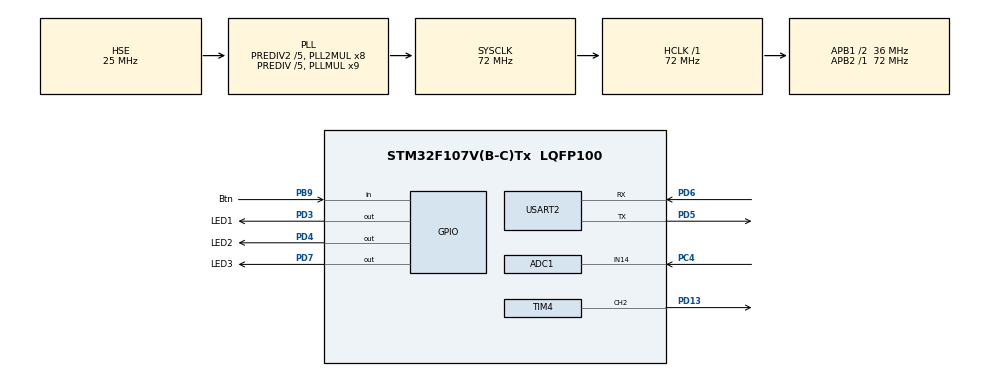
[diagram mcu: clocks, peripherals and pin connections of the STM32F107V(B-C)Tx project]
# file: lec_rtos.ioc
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ADC1.Channel-0\#ChannelRegularConversion=ADC_CHANNEL_14
ADC1.ContinuousConvMode=ENABLE
ADC1.NbrOfConversionFlag=1
ADC1.Rank-0\#ChannelRegularConversion=1
ADC1.SamplingTime-0\#ChannelRegularConversion=ADC_SAMPLETIME_1CYCLE_5
ADC1.master=1
FREERTOS.BinarySemaphores01=BtnSem,Static,BtnSemControlBlock
FREERTOS.Queues01=UARTQueue,10,QUEUE_t,0,Static,UARTQueueBuffer,UARTQueueControlBlock
FREERTOS.Tasks01=defaultTask,24,128,StartDefaultTask,Default,NULL,Static,defaultTaskBuffer,defaultTaskControlBlock;LED1Task,8,128,StartLED1Task,Default,NULL,Static,LED1TaskBuffer,LED1TaskControlBlock;LED2Task,8,128,StartLED2Task,Default,NULL,Static,LED2TaskBuffer,LED2TaskControlBlock;ReadBtnTask,8,128,StartReadBtnTask,Default,NULL,Static,ReadBtnTaskBuffer,ReadBtnTaskControlBlock;LED3Task,8,128,StartLED3Task,Default,NULL,Static,LED3TaskBuffer,LED3TaskControlBlock;ADCTask,8,128,StartADCTask,Default,NULL,Static,ADCTaskBuffer,ADCTaskControlBlock;UARTTask,8,128,StartUARTTask,Default,NULL,Static,UARTTaskBuffer,UARTTaskControlBlock
Mcu.Family=STM32F1
Mcu.Name=STM32F107V(B-C)Tx
Mcu.Package=LQFP100
NVIC.PriorityGroup=NVIC_PRIORITYGROUP_4
NVIC.TIM6_IRQn=true\:0\:0\:false\:false\:true\:false\:false\:true\:true
NVIC.TimeBase=TIM6_IRQn
NVIC.TimeBaseIP=TIM6
OSC_IN.Mode=HSE-External-Oscillator
OSC_IN.Signal=RCC_OSC_IN
OSC_OUT.Mode=HSE-External-Oscillator
OSC_OUT.Signal=RCC_OSC_OUT
PA13.Mode=Serial_Wire
PA13.Signal=SYS_JTMS-SWDIO
PA14.Mode=Serial_Wire
PA14.Signal=SYS_JTCK-SWCLK
PB9.GPIO_Label=Btn
PB9.Signal=GPIO_Input
PC4.Signal=ADCx_IN14
PD13.Signal=S_TIM4_CH2
PD3.GPIO_Label=LED1
PD3.Signal=GPIO_Output
PD4.GPIO_Label=LED2
PD4.Signal=GPIO_Output
PD5.Mode=Asynchronous
PD5.Signal=USART2_TX
PD6.Mode=Asynchronous
PD6.Signal=USART2_RX
PD7.GPIO_Label=LED3
PD7.Signal=GPIO_Output
ProjectManager.HeapSize=0x200
ProjectManager.StackSize=0x400
ProjectManager.TargetToolchain=STM32CubeIDE
RCC.ADCPresc=RCC_ADCPCLK2_DIV6
RCC.AHBFreq_Value=72000000
RCC.APB1CLKDivider=RCC_HCLK_DIV2
RCC.APB1Freq_Value=36000000
RCC.APB1TimFreq_Value=72000000
RCC.APB2Freq_Value=72000000
RCC.APB2TimFreq_Value=72000000
RCC.EnbaleCSS=true
RCC.HCLKFreq_Value=72000000
RCC.HSEDivPLL=RCC_HSE_PREDIV_DIV5
RCC.HSE_VALUE=25000000
RCC.PLLMUL=RCC_PLL_MUL9
RCC.PLLSourceVirtual=RCC_PLLSOURCE_HSE
RCC.Prediv1Source=RCC_PREDIV1_SOURCE_PLL2
RCC.Prediv2=RCC_HSE_PREDIV2_DIV5
RCC.SYSCLKFreq_VALUE=72000000
RCC.SYSCLKSource=RCC_SYSCLKSOURCE_PLLCLK
RCC.USBFreq_Value=48000000
SH.ADCx_IN14.0=ADC1_IN14,IN14
SH.S_TIM4_CH2.0=TIM4_CH2,PWM Generation2 CH2
TIM4.Channel-PWM\ Generation2\ CH2=TIM_CHANNEL_2
TIM4.Period=4095
TIM4.Prescaler=300
USART2.VirtualMode=VM_ASYNC
VP_FREERTOS_VS_CMSIS_V2.Mode=CMSIS_V2
VP_SYS_VS_tim6.Mode=TIM6
board=custom

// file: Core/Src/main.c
/* USER CODE BEGIN Header */
/**
  ******************************************************************************
  * @file           : main.c
  * @brief          : Main program body
  ******************************************************************************
  * @attention
  *
  * МГТУ пМ. Н.Э.БАУМАНА
  * Лекция-практикум "SM32CubeIDE + FreeRTOS. Примеры задач, очереди, семафоров"
  * Vladimir Leonidov [BMSTU]
  * https://www.youtube.com/watch?v=JKkyF53AAM4
  * проект на GIT:
  * https://github.com/Leonidov/STM32-Labs/tree/master/Lab%207%20-%20FreeRTOS
  *
  * <h2><center>&copy; Copyright (c) 2020 STMicroelectronics.
  * All rights reserved.</center></h2>
  *
  * This software component is licensed by ST under BSD 3-Clause license,
  * the "License"; You may not use this file except in compliance with the
  * License. You may obtain a copy of the License at:
  *                        opensource.org/licenses/BSD-3-Clause
  *
  ******************************************************************************
  */
/* USER CODE END Header */
#include "main.h"
#include "cmsis_os.h"

/* USER CODE BEGIN Includes */

#include "string.h"

/* USER CODE END Includes */

typedef StaticTask_t osStaticThreadDef_t;
typedef StaticQueue_t osStaticMessageQDef_t;
typedef StaticSemaphore_t osStaticSemaphoreDef_t;
/* USER CODE BEGIN PTD */

typedef struct {
	char Buf[128];
} QUEUE_t;

/* USER CODE END PTD */

 ADC_HandleTypeDef hadc1;

TIM_HandleTypeDef htim4;

UART_HandleTypeDef huart2;

/* Definitions for defaultTask */
osThreadId_t defaultTaskHandle;
uint32_t defaultTaskBuffer[ 128 ];
osStaticThreadDef_t defaultTaskControlBlock;
const osThreadAttr_t defaultTask_attributes = {
  .name = "defaultTask",
  .cb_mem = &defaultTaskControlBlock,
  .cb_size = sizeof(defaultTaskControlBlock),
  .stack_mem = &defaultTaskBuffer[0],
  .stack_size = sizeof(defaultTaskBuffer),
  .priority = (osPriority_t) osPriorityNormal,
};
/* Definitions for LED1Task */
osThreadId_t LED1TaskHandle;
uint32_t LED1TaskBuffer[ 128 ];
osStaticThreadDef_t LED1TaskControlBlock;
const osThreadAttr_t LED1Task_attributes = {
  .name = "LED1Task",
  .cb_mem = &LED1TaskControlBlock,
  .cb_size = sizeof(LED1TaskControlBlock),
  .stack_mem = &LED1TaskBuffer[0],
  .stack_size = sizeof(LED1TaskBuffer),
  .priority = (osPriority_t) osPriorityLow,
};
/* Definitions for LED2Task */
osThreadId_t LED2TaskHandle;
uint32_t LED2TaskBuffer[ 128 ];
osStaticThreadDef_t LED2TaskControlBlock;
const osThreadAttr_t LED2Task_attributes = {
  .name = "LED2Task",
  .cb_mem = &LED2TaskControlBlock,
  .cb_size = sizeof(LED2TaskControlBlock),
  .stack_mem = &LED2TaskBuffer[0],
  .stack_size = sizeof(LED2TaskBuffer),
  .priority = (osPriority_t) osPriorityLow,
};
/* Definitions for ReadBtnTask */
osThreadId_t ReadBtnTaskHandle;
uint32_t ReadBtnTaskBuffer[ 128 ];
osStaticThreadDef_t ReadBtnTaskControlBlock;
const osThreadAttr_t ReadBtnTask_attributes = {
  .name = "ReadBtnTask",
  .cb_mem = &ReadBtnTaskControlBlock,
  .cb_size = sizeof(ReadBtnTaskControlBlock),
  .stack_mem = &ReadBtnTaskBuffer[0],
  .stack_size = sizeof(ReadBtnTaskBuffer),
  .priority = (osPriority_t) osPriorityLow,
};
/* Definitions for LED3Task */
osThreadId_t LED3TaskHandle;
uint32_t LED3TaskBuffer[ 128 ];
osStaticThreadDef_t LED3TaskControlBlock;
const osThreadAttr_t LED3Task_attributes = {
  .name = "LED3Task",
  .cb_mem = &LED3TaskControlBlock,
  .cb_size = sizeof(LED3TaskControlBlock),
  .stack_mem = &LED3TaskBuffer[0],
  .stack_size = sizeof(LED3TaskBuffer),
  .priority = (osPriority_t) osPriorityLow,
};
/* Definitions for ADCTask */
osThreadId_t ADCTaskHandle;
uint32_t ADCTaskBuffer[ 128 ];
osStaticThreadDef_t ADCTaskControlBlock;
const osThreadAttr_t ADCTask_attributes = {
  .name = "ADCTask",
  .cb_mem = &ADCTaskControlBlock,
  .cb_size = sizeof(ADCTaskControlBlock),
  .stack_mem = &ADCTaskBuffer[0],
  .stack_size = sizeof(ADCTaskBuffer),
  .priority = (osPriority_t) osPriorityLow,
};
/* Definitions for UARTTask */
osThreadId_t UARTTaskHandle;
uint32_t UARTTaskBuffer[ 128 ];
osStaticThreadDef_t UARTTaskControlBlock;
const osThreadAttr_t UARTTask_attributes = {
  .name = "UARTTask",
  .cb_mem = &UARTTaskControlBlock,
  .cb_size = sizeof(UARTTaskControlBlock),
  .stack_mem = &UARTTaskBuffer[0],
  .stack_size = sizeof(UARTTaskBuffer),
  .priority = (osPriority_t) osPriorityLow,
};
/* Definitions for UARTQueue */
osMessageQueueId_t UARTQueueHandle;
uint8_t UARTQueueBuffer[ 10 * sizeof( QUEUE_t ) ];
osStaticMessageQDef_t UARTQueueControlBlock;
const osMessageQueueAttr_t UARTQueue_attributes = {
  .name = "UARTQueue",
  .cb_mem = &UARTQueueControlBlock,
  .cb_size = sizeof(UARTQueueControlBlock),
  .mq_mem = &UARTQueueBuffer,
  .mq_size = sizeof(UARTQueueBuffer)
};
/* Definitions for BtnSem */
osSemaphoreId_t BtnSemHandle;
osStaticSemaphoreDef_t BtnSemControlBlock;
const osSemaphoreAttr_t BtnSem_attributes = {
  .name = "BtnSem",
  .cb_mem = &BtnSemControlBlock,
  .cb_size = sizeof(BtnSemControlBlock),
};

void SystemClock_Config(void);
static void MX_GPIO_Init(void);
static void MX_TIM4_Init(void);
static void MX_USART2_UART_Init(void);
static void MX_ADC1_Init(void);
void StartDefaultTask(void *argument);
void StartLED1Task(void *argument);
void StartLED2Task(void *argument);
void StartReadBtnTask(void *argument);
void StartLED3Task(void *argument);
void StartADCTask(void *argument);
void StartUARTTask(void *argument);

int main(void)
{

  /* MCU Configuration--------------------------------------------------------*/

  /* Reset of all peripherals, Initializes the Flash interface and the Systick. */
  HAL_Init();

  /* Configure the system clock */
  SystemClock_Config();

  /* Initialize all configured peripherals */
  MX_GPIO_Init();
  MX_TIM4_Init();
  MX_USART2_UART_Init();
  MX_ADC1_Init();
  /* USER CODE BEGIN 2 */

  HAL_ADC_Start(&hadc1);
  HAL_TIM_PWM_Start(&htim4, TIM_CHANNEL_2);

  /* USER CODE END 2 */

  /* Init scheduler */
  osKernelInitialize();

  /* Create the semaphores(s) */
  /* creation of BtnSem */
  BtnSemHandle = osSemaphoreNew(1, 1, &BtnSem_attributes);

  /* Create the queue(s) */
  /* creation of UARTQueue */
  UARTQueueHandle = osMessageQueueNew (10, sizeof(QUEUE_t), &UARTQueue_attributes);

  /* Create the thread(s) */
  /* creation of defaultTask */
  defaultTaskHandle = osThreadNew(StartDefaultTask, NULL, &defaultTask_attributes);

  /* creation of LED1Task */
  LED1TaskHandle = osThreadNew(StartLED1Task, NULL, &LED1Task_attributes);

  /* creation of LED2Task */
  LED2TaskHandle = osThreadNew(StartLED2Task, NULL, &LED2Task_attributes);

  /* creation of ReadBtnTask */
  ReadBtnTaskHandle = osThreadNew(StartReadBtnTask, NULL, &ReadBtnTask_attributes);

  /* creation of LED3Task */
  LED3TaskHandle = osThreadNew(StartLED3Task, NULL, &LED3Task_attributes);

  /* creation of ADCTask */
  ADCTaskHandle = osThreadNew(StartADCTask, NULL, &ADCTask_attributes);

  /* creation of UARTTask */
  UARTTaskHandle = osThreadNew(StartUARTTask, NULL, &UARTTask_attributes);

  /* Start scheduler */
  osKernelStart();

  /* We should never get here as control is now taken by the scheduler */
  /* Infinite loop */
  while (1)
  {

  }
}

void SystemClock_Config(void)
{
  RCC_OscInitTypeDef RCC_OscInitStruct = {0};
  RCC_ClkInitTypeDef RCC_ClkInitStruct = {0};
  RCC_PeriphCLKInitTypeDef PeriphClkInit = {0};

  /** Initializes the RCC Oscillators according to the specified parameters
  * in the RCC_OscInitTypeDef structure.
  */
  RCC_OscInitStruct.OscillatorType = RCC_OSCILLATORTYPE_HSE;
  RCC_OscInitStruct.HSEState = RCC_HSE_ON;
  RCC_OscInitStruct.HSEPredivValue = RCC_HSE_PREDIV_DIV5;
  RCC_OscInitStruct.HSIState = RCC_HSI_ON;
  RCC_OscInitStruct.Prediv1Source = RCC_PREDIV1_SOURCE_PLL2;
  RCC_OscInitStruct.PLL.PLLState = RCC_PLL_ON;
  RCC_OscInitStruct.PLL.PLLSource = RCC_PLLSOURCE_HSE;
  RCC_OscInitStruct.PLL.PLLMUL = RCC_PLL_MUL9;
  RCC_OscInitStruct.PLL2.PLL2State = RCC_PLL2_ON;
  RCC_OscInitStruct.PLL2.PLL2MUL = RCC_PLL2_MUL8;
  RCC_OscInitStruct.PLL2.HSEPrediv2Value = RCC_HSE_PREDIV2_DIV5;
  if (HAL_RCC_OscConfig(&RCC_OscInitStruct) != HAL_OK)
  {
    Error_Handler();
  }

  /** Initializes the CPU, AHB and APB buses clocks
  */
  RCC_ClkInitStruct.ClockType = RCC_CLOCKTYPE_HCLK|RCC_CLOCKTYPE_SYSCLK
                              |RCC_CLOCKTYPE_PCLK1|RCC_CLOCKTYPE_PCLK2;
  RCC_ClkInitStruct.SYSCLKSource = RCC_SYSCLKSOURCE_PLLCLK;
  RCC_ClkInitStruct.AHBCLKDivider = RCC_SYSCLK_DIV1;
  RCC_ClkInitStruct.APB1CLKDivider = RCC_HCLK_DIV2;
  RCC_ClkInitStruct.APB2CLKDivider = RCC_HCLK_DIV1;

  if (HAL_RCC_ClockConfig(&RCC_ClkInitStruct, FLASH_LATENCY_2) != HAL_OK)
  {
    Error_Handler();
  }
  PeriphClkInit.PeriphClockSelection = RCC_PERIPHCLK_ADC;
  PeriphClkInit.AdcClockSelection = RCC_ADCPCLK2_DIV6;
  if (HAL_RCCEx_PeriphCLKConfig(&PeriphClkInit) != HAL_OK)
  {
    Error_Handler();
  }

  /** Enables the Clock Security System
  */
  HAL_RCC_EnableCSS();

  /** Configure the Systick interrupt time
  */
  __HAL_RCC_PLLI2S_ENABLE();
}

static void MX_ADC1_Init(void)
{

  ADC_ChannelConfTypeDef sConfig = {0};

  /** Common config
  */
  hadc1.Instance = ADC1;
  hadc1.Init.ScanConvMode = ADC_SCAN_DISABLE;
  hadc1.Init.ContinuousConvMode = ENABLE;
  hadc1.Init.DiscontinuousConvMode = DISABLE;
  hadc1.Init.ExternalTrigConv = ADC_SOFTWARE_START;
  hadc1.Init.DataAlign = ADC_DATAALIGN_RIGHT;
  hadc1.Init.NbrOfConversion = 1;
  if (HAL_ADC_Init(&hadc1) != HAL_OK)
  {
    Error_Handler();
  }

  /** Configure Regular Channel
  */
  sConfig.Channel = ADC_CHANNEL_14;
  sConfig.Rank = ADC_REGULAR_RANK_1;
  sConfig.SamplingTime = ADC_SAMPLETIME_1CYCLE_5;
  if (HAL_ADC_ConfigChannel(&hadc1, &sConfig) != HAL_OK)
  {
    Error_Handler();
  }

}

static void MX_TIM4_Init(void)
{

  TIM_MasterConfigTypeDef sMasterConfig = {0};
  TIM_OC_InitTypeDef sConfigOC = {0};

  htim4.Instance = TIM4;
  htim4.Init.Prescaler = 300;
  htim4.Init.CounterMode = TIM_COUNTERMODE_UP;
  htim4.Init.Period = 4095;
  htim4.Init.ClockDivision = TIM_CLOCKDIVISION_DIV1;
  htim4.Init.AutoReloadPreload = TIM_AUTORELOAD_PRELOAD_DISABLE;
  if (HAL_TIM_PWM_Init(&htim4) != HAL_OK)
  {
    Error_Handler();
  }
  sMasterConfig.MasterOutputTrigger = TIM_TRGO_RESET;
  sMasterConfig.MasterSlaveMode = TIM_MASTERSLAVEMODE_DISABLE;
  if (HAL_TIMEx_MasterConfigSynchronization(&htim4, &sMasterConfig) != HAL_OK)
  {
    Error_Handler();
  }
  sConfigOC.OCMode = TIM_OCMODE_PWM1;
  sConfigOC.Pulse = 0;
  sConfigOC.OCPolarity = TIM_OCPOLARITY_HIGH;
  sConfigOC.OCFastMode = TIM_OCFAST_DISABLE;
  if (HAL_TIM_PWM_ConfigChannel(&htim4, &sConfigOC, TIM_CHANNEL_2) != HAL_OK)
  {
    Error_Handler();
  }
  HAL_TIM_MspPostInit(&htim4);

}

static void MX_USART2_UART_Init(void)
{

  huart2.Instance = USART2;
  huart2.Init.BaudRate = 115200;
  huart2.Init.WordLength = UART_WORDLENGTH_8B;
  huart2.Init.StopBits = UART_STOPBITS_1;
  huart2.Init.Parity = UART_PARITY_NONE;
  huart2.Init.Mode = UART_MODE_TX_RX;
  huart2.Init.HwFlowCtl = UART_HWCONTROL_NONE;
  huart2.Init.OverSampling = UART_OVERSAMPLING_16;
  if (HAL_UART_Init(&huart2) != HAL_OK)
  {
    Error_Handler();
  }

}

static void MX_GPIO_Init(void)
{
  GPIO_InitTypeDef GPIO_InitStruct = {0};

  /* GPIO Ports Clock Enable */
  __HAL_RCC_GPIOC_CLK_ENABLE();
  __HAL_RCC_GPIOD_CLK_ENABLE();
  __HAL_RCC_GPIOA_CLK_ENABLE();
  __HAL_RCC_GPIOB_CLK_ENABLE();

  /*Configure GPIO pin Output Level */
  HAL_GPIO_WritePin(GPIOD, LED1_Pin|LED2_Pin|LED3_Pin, GPIO_PIN_RESET);

  /*Configure GPIO pins : LED1_Pin LED2_Pin LED3_Pin */
  GPIO_InitStruct.Pin = LED1_Pin|LED2_Pin|LED3_Pin;
  GPIO_InitStruct.Mode = GPIO_MODE_OUTPUT_PP;
  GPIO_InitStruct.Pull = GPIO_NOPULL;
  GPIO_InitStruct.Speed = GPIO_SPEED_FREQ_LOW;
  HAL_GPIO_Init(GPIOD, &GPIO_InitStruct);

  /*Configure GPIO pin : Btn_Pin */
  GPIO_InitStruct.Pin = Btn_Pin;
  GPIO_InitStruct.Mode = GPIO_MODE_INPUT;
  GPIO_InitStruct.Pull = GPIO_NOPULL;
  HAL_GPIO_Init(Btn_GPIO_Port, &GPIO_InitStruct);

}

void StartDefaultTask(void *argument)
{
  for(;;)
  {
    osDelay(1);
  }
}

void StartLED1Task(void *argument)
{
  /* USER CODE BEGIN StartLED1Task */
  /* Infinite loop */
  for(;;)
  {
	HAL_GPIO_TogglePin(LED1_GPIO_Port, LED1_Pin);
    osDelay(1000);
  }
  /* USER CODE END StartLED1Task */
}

void StartLED2Task(void *argument)
{
  /* USER CODE BEGIN StartLED2Task */
  QUEUE_t msg;
  /* Infinite loop */
  for(;;)
  {
	HAL_GPIO_TogglePin(LED2_GPIO_Port, LED2_Pin);

	strcpy(msg.Buf,"LED2 Blink\r\n\0");
	osMessageQueuePut(UARTQueueHandle, &msg, 0, osWaitForever);

    osDelay(2000);
  }
  /* USER CODE END StartLED2Task */
}

void StartReadBtnTask(void *argument)
{
  /* USER CODE BEGIN StartReadBtnTask */
  QUEUE_t msg;
  /* Infinite loop */
  for(;;)
  {
	if (!HAL_GPIO_ReadPin(Btn_GPIO_Port, Btn_Pin))
	{
		osSemaphoreRelease(BtnSemHandle);
		strcpy(msg.Buf,"Btn Pressed\r\n\0");
		osMessageQueuePut(UARTQueueHandle, &msg, 0, osWaitForever);
	}
    osDelay(500);
  }
  /* USER CODE END StartReadBtnTask */
}

void StartLED3Task(void *argument)
{
  /* USER CODE BEGIN StartLED3Task */
  /* Infinite loop */
  for(;;)
  {
	if (osSemaphoreAcquire(BtnSemHandle, osWaitForever) == osOK)
	{
		HAL_GPIO_TogglePin(LED3_GPIO_Port, LED3_Pin);
	}
    osDelay(1);
  }
  /* USER CODE END StartLED3Task */
}

void StartADCTask(void *argument)
{
  /* USER CODE BEGIN StartADCTask */
  QUEUE_t msg;
  /* Infinite loop */
  for(;;)
  {
    uint16_t adc_res = HAL_ADC_GetValue(&hadc1);
    __HAL_TIM_SET_COMPARE(&htim4,TIM_CHANNEL_2,adc_res);

    if (adc_res == 0)
    {
    	strcpy(msg.Buf,"MIN ADC\r\n\0");
    	osMessageQueuePut(UARTQueueHandle, &msg, 0, osWaitForever);
    	osDelay(500);
    }
    else if (adc_res > 4000)
    {
    	strcpy(msg.Buf,"MAX ADC\r\n\0");
    	osMessageQueuePut(UARTQueueHandle, &msg, 0, osWaitForever);
    	osDelay(500);
    }

	osDelay(100);
  }
  /* USER CODE END StartADCTask */
}

void StartUARTTask(void *argument)
{
  /* USER CODE BEGIN StartUARTTask */
  QUEUE_t msg;
  /* Infinite loop */
  for(;;)
  {
    osMessageQueueGet(UARTQueueHandle, &msg, 0, osWaitForever);
    HAL_UART_Transmit(&huart2, (uint8_t*)msg.Buf, strlen(msg.Buf), osWaitForever);
	osDelay(1);
  }
  /* USER CODE END StartUARTTask */
}

void HAL_TIM_PeriodElapsedCallback(TIM_HandleTypeDef *htim)
{
  if (htim->Instance == TIM6) {
    HAL_IncTick();
  }
}

void Error_Handler(void)
{
  __disable_irq();
  while (1)
  {
  }
}
